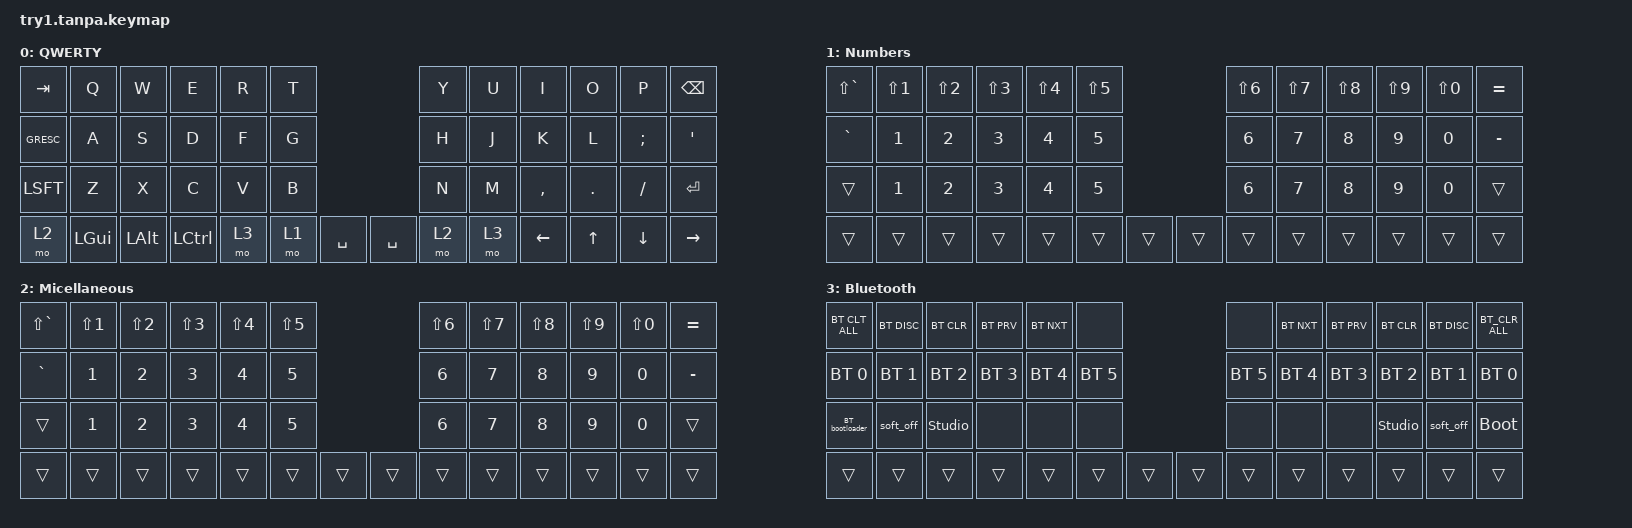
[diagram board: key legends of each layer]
/*
 * Copyright (c) 2024 The ZMK Contributors
 *
 * SPDX-License-Identifier: MIT
 */

#include <behaviors.dtsi>
#include <dt-bindings/zmk/bt.h>
#include <dt-bindings/zmk/keys.h>
#include <dt-bindings/zmk/outputs.h>

/{
    keymap {
        compatible = "zmk,keymap";

        default {
            display-name = "QWERTY";
            bindings = <
                &kp TAB  &kp Q     &kp W     &kp E     &kp R     &kp T                               &kp Y     &kp U     &kp I     &kp O     &kp P     &kp BSPC
                &GRESC   &kp A     &kp S     &kp D     &kp F     &kp G                               &kp H     &kp J     &kp K     &kp L     &kp SEMI  &kp APOS
                &kp LSFT &kp Z     &kp X     &kp C     &kp V     &kp B                               &kp N     &kp M     &kp COMMA &kp DOT   &kp FSLH  &kp RET
                &mo 2    &kp LGUI  &kp LALT  &kp LCTRL &mo 3     &mo 1     &kp SPACE       &kp SPACE &mo 2     &mo 3     &kp LEFT  &kp UP    &kp DOWN  &kp RIGHT
            >;
        },
        num {
            display-name = "Numbers";
            bindings = <
                &kp LS(GRAVE) &kp LS(N1) &kp LS(N2) &kp LS(N3) &kp LS(N4) &kp LS(N5)                            &kp LS(N6) &kp LS(N7) &kp LS(N8) &kp LS(N9) &kp LS(N0) &kp EQUAL
                &kp GRAVE     &kp N1     &kp N2     &kp N3     &kp N4     &kp N5                                &kp N6     &kp N7     &kp N8     &kp N9     &kp N0     &kp MINUS
                &trans        &kp N1     &kp N2     &kp N3     &kp N4     &kp N5                                &kp N6     &kp N7     &kp N8     &kp N9     &kp N0     &trans
                &trans        &trans     &trans     &trans     &trans     &trans &trans             &trans      &trans     &trans     &trans     &trans     &trans     &trans
            >;
        },
        misc {
            display-name = "Micellaneous";
            bindings = <
                &kp LS(GRAVE) &kp LS(N1) &kp LS(N2) &kp LS(N3) &kp LS(N4) &kp LS(N5)                            &kp LS(N6) &kp LS(N7) &kp LS(N8) &kp LS(N9) &kp LS(N0) &kp EQUAL
                &kp GRAVE     &kp N1     &kp N2     &kp N3     &kp N4     &kp N5                                &kp N6     &kp N7     &kp N8     &kp N9     &kp N0     &kp MINUS
                &trans        &kp N1     &kp N2     &kp N3     &kp N4     &kp N5                                &kp N6     &kp N7     &kp N8     &kp N9     &kp N0     &trans
                &trans        &trans     &trans     &trans     &trans     &trans &trans             &trans      &trans     &trans     &trans     &trans     &trans     &trans
>;
        },
        bt {
            display-name = "Bluetooth";
            bindings = <
                &bt BT_CLT_ALL &bt BT_DISC     &bt BT_CLR      &bt BT_PRV      &bt BT_NXT   &none                                           &none        &bt BT_NXT   &bt BT_PRV   &bt BT_CLR     &bt BT_DISC  &BT_CLR_ALL
                &bt BT_SEL 0   &bt BT_SEL 1    &bt BT_SEL 2    &bt BT_SEL 3    &bt BT_SEL 4 &bt BT_SEL 5                                    &bt BT_SEL 5 &bt BT_SEL 4 &bt BT_SEL 3 &bt BT_SEL 2   &bt BT_SEL 1 &bt BT_SEL 0
                &bt bootloader &soft_off       &studio_unlock  &none           &none        &none                                           &none        &none        &none        &studio_unlock &soft_off    &bootloader
                &trans         &trans          &trans          &trans          &trans       &trans       &trans                 &trans      &trans       &trans       &trans         &trans       &trans       &trans
            >;
        };
    };
};
